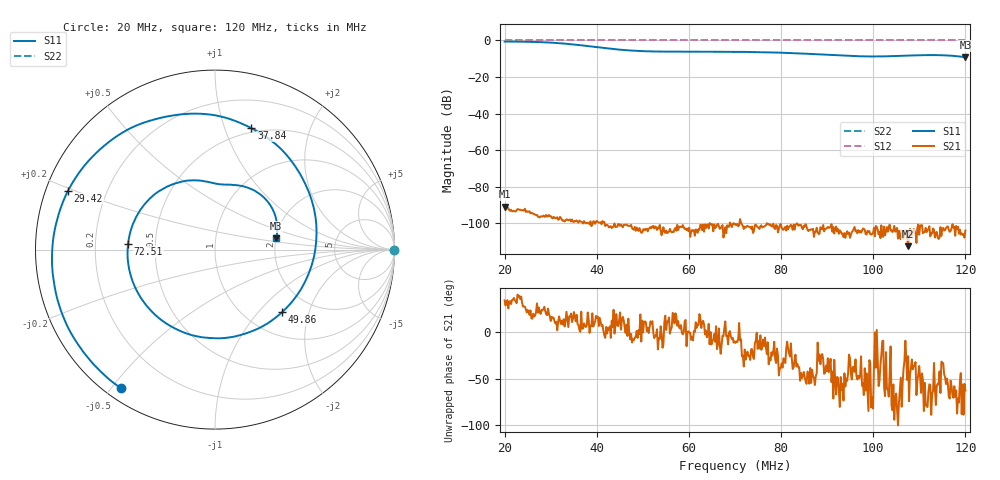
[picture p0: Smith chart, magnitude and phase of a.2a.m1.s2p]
! Anritsu VNA Master:  Model: MS2036C/10/77
! SN:  1601066
! /bd0/18may09/252.ew.m1.s2p
! Existing Calibration Information:
! TYPE:  Current Settings,  Active Cal Settings
! TIME:  05/09/2018 08:07:17 AM,  05/09/2018 08:04:56 AM
! INTERNAL TEMP:  42.3 C,  42.3 C
! # POINTS:  500,  500
! START FREQ:  20.000 MHz,  20.000 MHz
! STOP FREQ:  120.000 MHz,  120.000 MHz
! SOURCE POWER:  High,  High
! IFBW:  50 Hz,  50 Hz
! AVG FACTOR:  1 ,  1
! REF PLANE 1:  0 mm,  0 mm
! REF PLANE 2:  0 mm,  0 mm
! CAL TYPE:  Full S11,  Full S11
! CAL METHOD:  SOLT,  SOLT
! CAL LINE TYPE:  Coax,  Coax
! DUT PORT 1:  K-Conn(F),  K-Conn(F)
! DUT PORT 2:  K-Conn(F),  K-Conn(F)
! CAL STATUS:  OK: Accuracy High,  --
# GHZ S DB R 50.0
! FREQ.GHZ  S11DB  S11A  S21DB  S21A  S12DB  S12A  S22DB  S22A
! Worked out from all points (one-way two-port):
!   500 points, 20 MHz to 120 MHz, reference 50 ohm
!   highest |S21| = -90.90 dB at 20 MHz (marker M1); lowest = -112.5 dB at 107.6 MHz (marker M2)
!   lowest |S11| = -9.2 dB at 120 MHz (marker M3), VSWR 2.06, Z = 100 + j14.6 ohm
!   |S11| at or under -10 dB: nowhere
!   |S22| runs from 0.0 to 0.0 dB; largest |S21 - S12| = 1
!   S11 on the Smith chart (normalised r, x): 20 MHz: 0.04, -0.53; 29.42 MHz: 0.07, +0.19; 37.84 MHz: 0.46, +1.24; 49.86 MHz: 1.43, -1.35; 72.51 MHz: 0.35, +0.03; 120 MHz: 2.01, +0.29
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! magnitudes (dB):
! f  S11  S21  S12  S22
! 20 MHz  -0.6  -90.9  0.0  0.0
! 24.81 MHz  -0.7  -93.4  0.0  0.0
! 29.42 MHz  -1.1  -96.0  0.0  0.0
! 32.83 MHz  -1.7  -98.4  0.0  0.0
! 36.83 MHz  -2.7  -99.5  0.0  0.0
! 37.84 MHz  -3.0  -99.8  0.0  0.0
! 44.65 MHz  -5.0  -100.4  0.0  0.0
! 47.05 MHz  -5.5  -101.5  0.0  0.0
! 49.86 MHz  -5.8  -105.0  0.0  0.0
! 53.47 MHz  -6.1  -102.9  0.0  0.0
! 70.1 MHz  -6.2  -100.4  0.0  0.0
! 72.51 MHz  -6.3  -101.7  0.0  0.0
! 80.12 MHz  -6.7  -102.3  0.0  0.0
! 86.73 MHz  -7.4  -103.4  0.0  0.0
! 97.35 MHz  -8.7  -105.1  0.0  0.0
! 100.6 MHz  -8.8  -101.4  0.0  0.0
! 103.4 MHz  -8.6  -102.1  0.0  0.0
! 107.6 MHz  -8.3  -112.5  0.0  0.0
! 111.8 MHz  -8.0  -103.9  0.0  0.0
! 114.6 MHz  -8.1  -102.1  0.0  0.0
! 117.2 MHz  -8.4  -100.5  0.0  0.0
! 120 MHz  -9.2  -104.0  0.0  0.0
